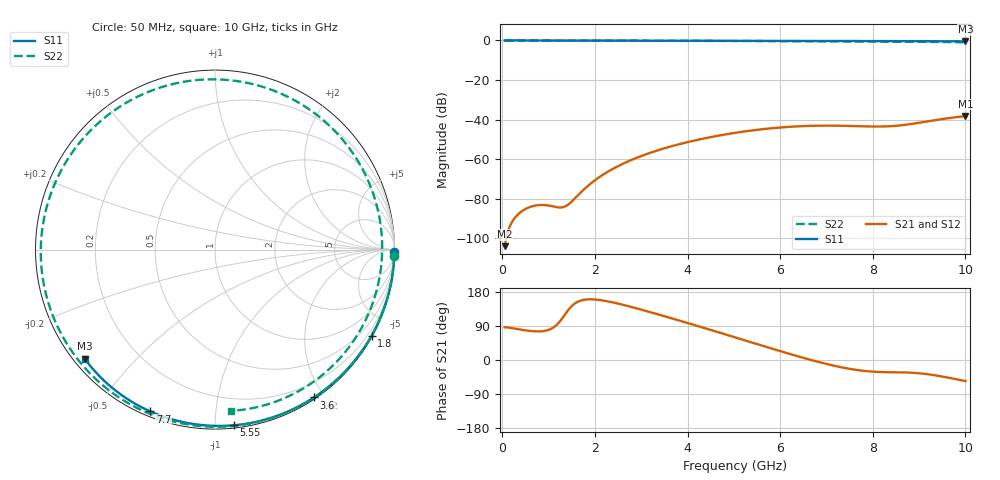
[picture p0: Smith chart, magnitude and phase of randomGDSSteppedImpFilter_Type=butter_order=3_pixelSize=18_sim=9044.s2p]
! freq	dB(S11)	phase(S11)	dB(S12)	phase(S12)
!  dB(S21)	phase(S21)	dB(S22)	phase(S22)
!S-par simulation data
#  GHz  S  DB  R 50
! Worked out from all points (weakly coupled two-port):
!   200 points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, 50 MHz to 10 GHz, reference 50 ohm
!   highest |S21| = -38.22 dB at 10 GHz (marker M1); lowest = -103.9 dB at 50 MHz (marker M2)
!   lowest |S11| = -0.5 dB at 10 GHz (marker M3), VSWR 36.65, Z = 1.54 - j18.2 ohm
!   |S11| at or under -10 dB: nowhere
!   |S22| runs from -0.9 to 0.0 dB; largest |S21 - S12| = 0
!   S11 on the Smith chart (normalised r, x): 50 MHz: open; 1.8 GHz: 0.03, -3.90; 3.6 GHz: 0.02, -1.87; 5.55 GHz: 0.02, -1.12; 7.7 GHz: 0.02, -0.68; 10 GHz: 0.03, -0.36
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0.05  -0.00 -0.8  -103.95 86.3  -103.95 86.3  -0.00 -2.0
0.75  -0.01 -12.1  -83.29 75.4  -83.29 75.4  -0.03 -29.0
1.55  -0.03 -24.9  -80.20 147.6  -80.20 147.6  -0.07 -59.1
1.75  -0.04 -28.0  -75.55 158.5  -75.55 158.5  -0.08 -66.5
1.8  -0.04 -28.8  -74.47 159.5  -74.47 159.5  -0.09 -68.3
2.45  -0.05 -38.9  -64.10 150.3  -64.10 150.3  -0.11 -91.8
2.9  -0.06 -45.7  -59.31 136.3  -59.31 136.3  -0.13 -107.9
3.4  -0.07 -53.2  -55.20 119.1  -55.20 119.1  -0.16 -125.7
3.6  -0.08 -56.2  -53.82 112.0  -53.82 112.0  -0.17 -132.9
4.35  -0.10 -67.1  -49.55 84.9  -49.55 84.9  -0.22 -160.5
5.05  -0.12 -76.9  -46.59 58.9  -46.59 58.9  -0.28 171.9
5.55  -0.14 -83.8  -45.02 40.2  -45.02 40.2  -0.32 150.4
6.2  -0.17 -92.4  -43.64 16.2  -43.64 16.2  -0.39 119.3
6.7  -0.19 -99.0  -43.12 -1.1  -43.12 -1.1  -0.45 92.8
7.2  -0.22 -105.4  -43.06 -16.1  -43.06 -16.1  -0.51 64.2
7.7  -0.26 -111.7  -43.33 -27.1  -43.33 -27.1  -0.56 34.5
8.05  -0.28 -116.1  -43.51 -31.1  -43.51 -31.1  -0.59 13.8
8.35  -0.31 -119.8  -43.36 -32.2  -43.36 -32.2  -0.62 -3.5
8.75  -0.34 -124.7  -42.47 -33.0  -42.47 -33.0  -0.66 -25.4
9.2  -0.39 -130.3  -40.82 -37.8  -40.82 -37.8  -0.72 -48.4
9.6  -0.43 -135.1  -39.38 -45.9  -39.38 -45.9  -0.79 -67.1
10  -0.47 -140.0  -38.22 -55.7  -38.22 -55.7  -0.89 -84.4
